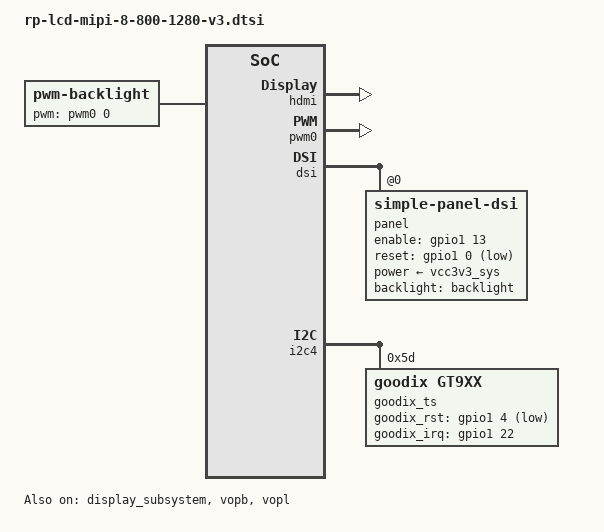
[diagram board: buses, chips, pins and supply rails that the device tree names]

/ {
	
	backlight: backlight {
		status = "okay";
		compatible = "pwm-backlight";
		pwms = <&pwm0 0 25000 0>;
		brightness-levels = <
			  0   1   2   3   4   5   6   7
			  8   9  10  11  12  13  14  15
			 16  17  18  19  20  21  22  23
			 24  25  26  27  28  29  30  31
			 32  33  34  35  36  37  38  39
			 40  41  42  43  44  45  46  47
			 48  49  50  51  52  53  54  55
			 56  57  58  59  60  61  62  63
			 64  65  66  67  68  69  70  71
			 72  73  74  75  76  77  78  79
			 80  81  82  83  84  85  86  87
			 88  89  90  91  92  93  94  95
			 96  97  98  99 100 101 102 103
			104 105 106 107 108 109 110 111
			112 113 114 115 116 117 118 119
			120 121 122 123 124 125 126 127
			128 129 130 131 132 133 134 135
			136 137 138 139 140 141 142 143
			144 145 146 147 148 149 150 151
			152 153 154 155 156 157 158 159
			160 161 162 163 164 165 166 167
			168 169 170 171 172 173 174 175
			176 177 178 179 180 181 182 183
			184 185 186 187 188 189 190 191
			192 193 194 195 196 197 198 199
			200 201 202 203 204 205 206 207
			208 209 210 211 212 213 214 215
			216 217 218 219 220 221 222 223
			224 225 226 227 228 229 230 231
			232 233 234 235 236 237 238 239
			240 241 242 243 244 245 246 247
			248 249 250 251 252 253 254 255>;
		default-brightness-level = <255>;
	};


};


&hdmi {
	#address-cells = <1>;
	#size-cells = <0>;
	#sound-dai-cells = <0>;
	ddc-i2c-scl-high-time-ns = <9625>;
	ddc-i2c-scl-low-time-ns = <10000>;
	status = "okay";
};

&pwm0 {
	status = "okay";
};


&display_subsystem {
	status = "okay";

	ports = <&vopb_out>, <&vopl_out>;
	logo-memory-region = <&drm_logo>;

	route {
		route_hdmi: route-hdmi {
			status = "okay";
			logo,uboot = "logo.bmp";
			logo,kernel = "logo_kernel.bmp";
			logo,mode = "center";
			charge_logo,mode = "center";
			connect = <&vopl_out_hdmi>;
		};

		route_dsi: route-dsi {

			status = "okay";
			//status = "disabled";
			logo,uboot = "logo.bmp";
			logo,kernel = "logo_kernel.bmp";
			logo,mode = "center";
			charge_logo,mode = "center";
			connect = <&vopb_out_dsi>;
		};

		route_dsi1: route-dsi1 {
			status = "disabled";
			logo,uboot = "logo.bmp";
			logo,kernel = "logo_kernel.bmp";
			logo,mode = "fullscreen";
			charge_logo,mode = "center";
			connect = <&vopl_out_dsi1>;
		};

		route_edp: route-edp {
			status = "disabled";
			logo,uboot = "logo.bmp";
			logo,kernel = "logo_kernel.bmp";
			logo,mode = "fullscreen";
			charge_logo,mode = "center";
			connect = <&vopb_out_edp>;
		};
	};
};

&dsi {
        status = "okay";
	rockchip,lane-rate = <480>;
	
	panel {
		compatible ="simple-panel-dsi"; 
		status = "okay"; 
		reg = <0>; 
		power-supply = <&vcc3v3_sys>; 
		backlight = <&backlight>; 
		cmd_later_reset = <0>; 
		enable-gpios = <&gpio1 13 GPIO_ACTIVE_HIGH>; 
		reset-gpios  = <&gpio1 0 GPIO_ACTIVE_LOW>; 
		dsi,flags = <(MIPI_DSI_MODE_VIDEO | MIPI_DSI_MODE_VIDEO_BURST | MIPI_DSI_MODE_LPM|MIPI_DSI_MODE_EOT_PACKET)>; 
		dsi,format = <MIPI_DSI_FMT_RGB888>; 
//		bus-format = <MEDIA_BUS_FMT_RGB666_1X24>;
                dsi,lanes = <4>;
                reset-delay-ms = <20>;
		init-delay-ms = <20>;
		enable-delay-ms = <120>;
                prepare-delay-ms = <120>;

					//for king/rp/rd board cannot enable boot logo
                                        pinctrl-names = "default";
                                        pinctrl-0 = <&pwr_en>;
               panel-init-sequence = [
                    39 00 04 FF 98 81 03
                                
                    39 00 02 01 00
                    39 00 02 02 00
                    39 00 02 03 57    //54
                    39 00 02 04 D3    //D4
                    39 00 02 05 00        
                    39 00 02 06 11        
                    39 00 02 07 08    //09
                    39 00 02 08 00        
                    39 00 02 09 00        
                    39 00 02 0a 3F    //00
                    39 00 02 0b 00        
                    39 00 02 0c 00        
                    39 00 02 0d 00        
                    39 00 02 0e 00        
                    39 00 02 0f 3F    //00
                    39 00 02 10 3F    //00
                    39 00 02 11 00        
                    39 00 02 12 00        
                    39 00 02 13 00        
                    39 00 02 14 00
                    39 00 02 15 00        
                    39 00 02 16 00        
                    39 00 02 17 00        
                    39 00 02 18 00        
                    39 00 02 19 00
                    39 00 02 1a 00
                    39 00 02 1b 00   
                    39 00 02 1c 00
                    39 00 02 1d 00
                    39 00 02 1e 40        
                    39 00 02 1f 80        
                    39 00 02 20 06        
                    39 00 02 21 01        
                    39 00 02 22 00        
                    39 00 02 23 00        
                    39 00 02 24 00        
                    39 00 02 25 00        
                    39 00 02 26 00
                    39 00 02 27 00
                    39 00 02 28 33      
                    39 00 02 29 33      
                    39 00 02 2a 00  
                    39 00 02 2b 00
                    39 00 02 2c 00      
                    39 00 02 2d 00      
                    39 00 02 2e 00      
                    39 00 02 2f 00      
                    39 00 02 30 00
                    39 00 02 31 00
                    39 00 02 32 00      
                    39 00 02 33 00
                    39 00 02 34 00      
                    39 00 02 35 00         
                    39 00 02 36 00
                    39 00 02 37 00      
                    39 00 02 38 78	
                    39 00 02 39 00
                    39 00 02 3a 00 
                    39 00 02 3b 00
                    39 00 02 3c 00
                    39 00 02 3d 00
                    39 00 02 3e 00
                    39 00 02 3f 00
                    39 00 02 40 00
                    39 00 02 41 00
                    39 00 02 42 00
                    39 00 02 43 00       //GCH/L
                    39 00 02 44 00
                                
                                
                    39 00 02 50 00
                    39 00 02 51 23
                    39 00 02 52 45
                    39 00 02 53 67
                    39 00 02 54 89
                    39 00 02 55 ab
                    39 00 02 56 01
                    39 00 02 57 23
                    39 00 02 58 45
                    39 00 02 59 67
                    39 00 02 5a 89
                    39 00 02 5b ab
                    39 00 02 5c cd
                    39 00 02 5d ef
                                
                    39 00 02 5e 00
                    39 00 02 5f 0D     //FW_CGOUT_L[1]  
                    39 00 02 60 0D     //FW_CGOUT_L[2]  
                    39 00 02 61 0C     //FW_CGOUT_L[3]  
                    39 00 02 62 0C     //FW_CGOUT_L[4]  
                    39 00 02 63 0F     //FW_CGOUT_L[5]  
                    39 00 02 64 0F     //FW_CGOUT_L[6]  
                    39 00 02 65 0E     //FW_CGOUT_L[7]  
                    39 00 02 66 0E     //FW_CGOUT_L[8]  
                    39 00 02 67 08     //FW_CGOUT_L[9]  
                    39 00 02 68 02     //FW_CGOUT_L[10] 
                    39 00 02 69 02     //FW_CGOUT_L[11] 
                    39 00 02 6a 02     //FW_CGOUT_L[12] 
                    39 00 02 6b 02     //FW_CGOUT_L[13] 
                    39 00 02 6c 02     //FW_CGOUT_L[14] 
                    39 00 02 6d 02     //FW_CGOUT_L[15] 
                    39 00 02 6e 02     //FW_CGOUT_L[16] 
                    39 00 02 6f 02     //FW_CGOUT_L[17] 
                    39 00 02 70 14     //FW_CGOUT_L[18] 
                    39 00 02 71 15     //FW_CGOUT_L[19] 
                    39 00 02 72 06     //FW_CGOUT_L[20] 
                    39 00 02 73 02     //FW_CGOUT_L[21] 
                    39 00 02 74 02     //FW_CGOUT_L[22]   
                                
                    39 00 02 75 0D     //BW_CGOUT_L[1]   
                    39 00 02 76 0D     //BW_CGOUT_L[2]    
                    39 00 02 77 0C     //BW_CGOUT_L[3]    
                    39 00 02 78 0C     //BW_CGOUT_L[4]    
                    39 00 02 79 0F     //BW_CGOUT_L[5]     
                    39 00 02 7a 0F     //BW_CGOUT_L[6]     
                    39 00 02 7b 0E     //BW_CGOUT_L[7]   
                    39 00 02 7c 0E     //BW_CGOUT_L[8]    
                    39 00 02 7d 08     //BW_CGOUT_L[9]      
                    39 00 02 7e 02     //BW_CGOUT_L[10]
                    39 00 02 7f 02     //BW_CGOUT_L[11]    
                    39 00 02 80 02     //BW_CGOUT_L[12]   
                    39 00 02 81 02     //BW_CGOUT_L[13] 
                    39 00 02 82 02     //BW_CGOUT_L[14]      
                    39 00 02 83 02     //BW_CGOUT_L[15]   
                    39 00 02 84 02     //BW_CGOUT_L[16]      
                    39 00 02 85 02     //BW_CGOUT_L[17]
                    39 00 02 86 14     //BW_CGOUT_L[18]
                    39 00 02 87 15     //BW_CGOUT_L[19]
                    39 00 02 88 06     //BW_CGOUT_L[20]   
                    39 00 02 89 02     //BW_CGOUT_L[21]   
                    39 00 02 8A 02     //BW_CGOUT_L[22]   
                                
                                
                                
                    39 00 04 FF 98 81 04
                                
                    39 00 02 6E 3B          
                    39 00 02 6F 57          
                    39 00 02 3A 24          
                    39 00 02 8D 1F          
                    39 00 02 87 BA          
                    39 00 02 B2 D1
                    39 00 02 88 0B
                    39 00 02 38 01      
                    39 00 02 39 00
                    39 00 02 B5 07          
                    39 00 02 31 75
                    39 00 02 3B 98  			
                                 
                                
                    39 00 04 FF 98 81 01
                    39 00 02 22 0A          
                    39 00 02 31 09          
                    39 00 02 35 07          
                    39 00 02 53 87          
                    39 00 02 55 84          
                    39 00 02 50 86          
                    39 00 02 51 82          
                    39 00 02 60 10          
                    39 00 02 62 00          
                                
                    39 00 02 A0 00
                    39 00 02 A1 12
                    39 00 02 A2 1F
                    39 00 02 A3 12
                    39 00 02 A4 16
                    39 00 02 A5 29
                    39 00 02 A6 1E
                    39 00 02 A7 1F
                    39 00 02 A8 7E
                    39 00 02 A9 1B
                    39 00 02 AA 28
                    39 00 02 AB 6D
                    39 00 02 AC 19
                    39 00 02 AD 18
                    39 00 02 AE 4C
                    39 00 02 AF 1E
                    39 00 02 B0 23
                    39 00 02 B1 52
                    39 00 02 B2 6D
                    39 00 02 B3 3F
                                
                    39 00 02 C0 00
                    39 00 02 C1 12
                    39 00 02 C2 20
                    39 00 02 C3 10
                    39 00 02 C4 13
                    39 00 02 C5 27
                    39 00 02 C6 1B
                    39 00 02 C7 1D
                    39 00 02 C8 75
                    39 00 02 C9 1F
                    39 00 02 CA 28
                    39 00 02 CB 68
                    39 00 02 CC 1A
                    39 00 02 CD 18
                    39 00 02 CE 4D
                    39 00 02 CF 25
                    39 00 02 D0 2E
                    39 00 02 D1 53
                    39 00 02 D2 60
                    39 00 02 D3 3F
                                 
                    39 00 04 FF 98 81 00
                    39 00 02 35 00
                    05 80 01 11
                    05 20 01 29
            ];
		panel-exit-sequence = [
			05 00 01 28
			05 78 01 10
		];

                display-timings {
                        native-mode = <&timing0>;
                        timing0: timing0 {
                                clock-frequency = <76000000>;
                                hactive = <800>;
                                vactive = <1280>;
                                hback-porch = <70>;
                                hfront-porch = <70>;
                                vback-porch = <22>;
                                vfront-porch = <16>;
                                hsync-len = <20>;
                                vsync-len = <6>;
                                hsync-active = <0>;
                                vsync-active = <0>;
                                de-active = <0>;
                                pixelclk-active = <0>;
                        };
                        timing1: timing1 {
                                clock-frequency = <148000000>;
                                hactive = <1920>;
                                vactive = <1080>;
                                hback-porch = <100>;
                                hfront-porch = <160>;
                                vback-porch = <25>;
                                vfront-porch = <10>;
                                hsync-len = <20>;
                                vsync-len = <10>;
                                hsync-active = <0>;
                                vsync-active = <0>;
                                de-active = <0>;
                                pixelclk-active = <1>;
                        };
                };
        };
};

&vopb {
        assigned-clocks = <&cru DCLK_VOP0_DIV>;
        assigned-clock-parents = <&cru PLL_CPLL>;
        //assigned-clock-parents = <&cru PLL_VPLL>;
        status = "okay";
};

&vopb_mmu {
        status = "okay";
};

&vopl {
        assigned-clocks = <&cru DCLK_VOP1_DIV>;
        assigned-clock-parents = <&cru PLL_VPLL>;
        //assigned-clock-parents = <&cru PLL_CPLL>;
        status = "okay";
};

&vopl_mmu {
        status = "okay";
};

&dsi_in_vopl { 
        status = "disabled"; 
}; 
 
&hdmi_in_vopb { 
        status = "disabled"; 
}; 
 
&edp_in_vopb { 
        status = "disabled"; 
}; 
&edp_in_vopl { 
        status = "disabled"; 
}; 

&dsi1_in_vopb { 
        status = "disabled"; 
}; 
&dsi1_in_vopl { 
        status = "disabled"; 
}; 

&i2c4 {
        status = "okay";
	goodix_ts@5d {
		compatible = "goodix,gt9xx";
		reg = <0x5d>;
                
                gtp_resolution_x = <800>;
                gtp_resolution_y = <1280>;
                gtp_int_tarigger = <1>;
                gtp_change_x2y = <0>;
                gtp_overturn_x = <0>;
                gtp_overturn_y = <0>;
                gtp_send_cfg = <1>;
                gtp_touch_wakeup = <1>;
                
		goodix_rst_gpio = <&gpio1 4 GPIO_ACTIVE_LOW>;
		goodix_irq_gpio = <&gpio1 22 IRQ_TYPE_EDGE_RISING>;
	
		goodix,cfg-group0 = [
			45 20 03 00 05 05 35 00 01 C8 1E 0F 50 32
			03 05 00 00 00 00 00 00 04 18 1A 1E 14 8C
			2E 0E 1E 20 EB 04 00 00 00 BA 02 2D 00 00
			00 00 00 03 00 00 00 00 00 0F 2D 94 D5 02
			07 00 00 04 E6 10 00 BB 14 00 92 1A 00 78
			20 00 61 28 00 61 00 00 00 00 00 00 00 00
			00 00 00 00 00 00 00 00 00 00 00 00 00 00
			00 00 00 00 00 00 00 00 00 00 00 00 00 00
			1C 1A 18 16 14 12 10 0E 0C 0A 08 06 04 02
			00 00 00 00 00 00 00 00 00 00 00 00 00 00
			00 00 2A 29 28 26 24 22 21 20 1F 1E 1D 1C
			18 16 00 02 04 06 08 0A 0C 0F 10 12 13 14
			00 00 00 00 00 00 00 00 00 00 00 00 00 00
			00 00 CB 01
                ];
		
		/** jc */
                goodix,cfg-group2 = [
                    00 20 03 00 05 0A 05 00 01 08 28
                    05 50 32 03 05 00 00 00 00 00 00
                    00 00 00 00 00 8C 2C 0E 17 15 31
                    0D 00 00 01 BA 03 1D 00 00 00 00
                    00 03 64 32 00 00 00 0F 41 94 C5
                    02 07 00 00 04 99 11 00 77 17 00
                    5F 1F 00 4C 2A 00 41 38 00 41 00
                    00 00 00 00 00 00 00 00 00 00 00
                    00 00 00 00 00 00 00 00 00 00 00
                    00 00 00 00 00 00 00 00 00 00 00
                    00 00 1C 1A 18 16 14 12 10 0E 0C
                    0A 08 06 04 02 00 00 00 00 00 00
                    00 00 00 00 00 00 00 00 00 00 28
                    26 24 22 21 20 1F 1E 1D 1C 18 16
                    00 02 04 06 08 0A 0C 0F 10 12 13
                    14 FF FF 00 00 00 00 00 00 00 00
                    00 00 00 00 00 00 00 00 FE 01
                ];
			
	        goodix,cfg-group5 = [
			00 20 03 00 05 0A 05 00 01 08 28 08 
			50 32 03 05 00 00 00 00 00 00 00 18 
			1A 1E 14 8C 2C 0E 17 15 31 0D 00 00 
			02 9B 04 1D 00 00 00 00 00 03 64 32 
			00 00 00 11 25 94 C5 02 07 00 00 04 
			60 12 00 5D 15 00 57 19 00 54 1D 00 
			4F 22 00 4F 00 00 00 00 00 00 00 00 
			00 00 00 00 00 00 00 00 00 00 00 00 
			00 00 00 00 00 00 00 00 00 00 00 00 
			00 00 00 00 1C 1A 18 16 14 12 10 0E 
			0C 0A 08 06 04 02 00 00 00 00 00 00 
			00 00 00 00 00 00 00 00 00 00 28 26 
			24 22 21 20 1F 1E 1D 1C 18 16 14 13 
			00 02 04 06 08 0A 0C 0F 10 12 FF FF 
			00 00 00 00 00 00 00 00 00 00 00 00 
			00 00 00 00 2F 01];	
	};
};

&pinctrl{
        pwr_5v {
                        pwr_en: pwr-en {
                                rockchip,pins = //<1 13 RK_FUNC_GPIO &pcfg_pull_up>,
                                                <4 30 RK_FUNC_GPIO &pcfg_pull_up>;
                        };
        };
};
